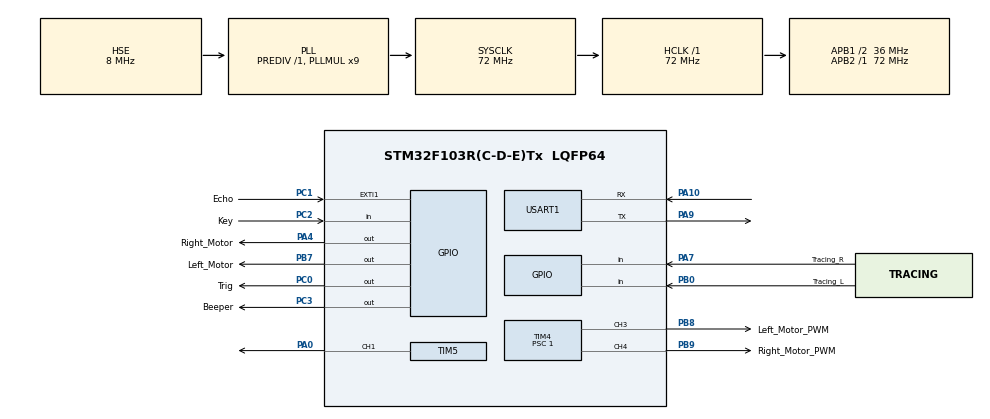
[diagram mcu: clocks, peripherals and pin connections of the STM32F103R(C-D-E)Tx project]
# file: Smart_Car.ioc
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Mcu.Family=STM32F1
Mcu.Name=STM32F103R(C-D-E)Tx
Mcu.Package=LQFP64
NVIC.EXTI1_IRQn=true\:2\:2\:true\:false\:true\:true\:true
NVIC.PriorityGroup=NVIC_PRIORITYGROUP_2
NVIC.USART1_IRQn=true\:3\:3\:true\:false\:true\:true\:true
PA0-WKUP.Signal=S_TIM5_CH1
PA10.Mode=Asynchronous
PA10.Signal=USART1_RX
PA13.Mode=Serial_Wire
PA13.Signal=SYS_JTMS-SWDIO
PA14.Mode=Serial_Wire
PA14.Signal=SYS_JTCK-SWCLK
PA4.GPIO_Label=Right_Motor
PA4.Signal=GPIO_Output
PA7.GPIO_Label=Tracing_R
PA7.GPIO_PuPd=GPIO_PULLUP
PA7.Signal=GPIO_Input
PA9.Mode=Asynchronous
PA9.Signal=USART1_TX
PB0.GPIO_Label=Tracing_L
PB0.GPIO_PuPd=GPIO_PULLUP
PB0.Signal=GPIO_Input
PB7.GPIO_Label=Left_Motor
PB7.Signal=GPIO_Output
PB8.GPIO_Label=Left_Motor_PWM
PB8.Signal=S_TIM4_CH3
PB9.GPIO_Label=Right_Motor_PWM
PB9.Signal=S_TIM4_CH4
PC0.GPIO_Label=Trig
PC0.Signal=GPIO_Output
PC1.GPIO_Label=Echo
PC1.GPIO_ModeDefaultEXTI=GPIO_MODE_IT_RISING
PC1.GPIO_PuPd=GPIO_PULLDOWN
PC1.Signal=GPXTI1
PC2.GPIO_Label=Key
PC2.GPIO_PuPd=GPIO_PULLUP
PC2.Signal=GPIO_Input
PC3.GPIO_Label=Beeper
PC3.Signal=GPIO_Output
PD0-OSC_IN.Mode=HSE-External-Oscillator
PD0-OSC_IN.Signal=RCC_OSC_IN
PD1-OSC_OUT.Mode=HSE-External-Oscillator
PD1-OSC_OUT.Signal=RCC_OSC_OUT
ProjectManager.HeapSize=0x200
ProjectManager.StackSize=0x400
ProjectManager.TargetToolchain=MDK-ARM V5.27
RCC.AHBFreq_Value=72000000
RCC.APB1CLKDivider=RCC_HCLK_DIV2
RCC.APB1Freq_Value=36000000
RCC.APB1TimFreq_Value=72000000
RCC.APB2Freq_Value=72000000
RCC.APB2TimFreq_Value=72000000
RCC.HCLKFreq_Value=72000000
RCC.PLLMUL=RCC_PLL_MUL9
RCC.PLLSourceVirtual=RCC_PLLSOURCE_HSE
RCC.SYSCLKFreq_VALUE=72000000
RCC.SYSCLKSource=RCC_SYSCLKSOURCE_PLLCLK
RCC.USBFreq_Value=72000000
SH.S_TIM4_CH3.0=TIM4_CH3,PWM Generation3 CH3
SH.S_TIM4_CH4.0=TIM4_CH4,PWM Generation4 CH4
SH.S_TIM5_CH1.0=TIM5_CH1,PWM Generation1 CH1
TIM2.Period=65535
TIM2.Prescaler=71
TIM4.AutoReloadPreload=TIM_AUTORELOAD_PRELOAD_ENABLE
TIM4.Channel-PWM\ Generation3\ CH3=TIM_CHANNEL_3
TIM4.Channel-PWM\ Generation4\ CH4=TIM_CHANNEL_4
TIM4.OCMode_PWM-PWM\ Generation3\ CH3=TIM_OCMODE_PWM2
TIM4.OCMode_PWM-PWM\ Generation4\ CH4=TIM_OCMODE_PWM2
TIM4.Period=3599
TIM4.Prescaler=1
TIM5.AutoReloadPreload=TIM_AUTORELOAD_PRELOAD_ENABLE
TIM5.Channel-PWM\ Generation1\ CH1=TIM_CHANNEL_1
TIM5.ClockDivision=TIM_CLOCKDIVISION_DIV1
TIM5.Period=3999
TIM5.Prescaler=359
USART1.VirtualMode=VM_ASYNC
VP_TIM2_VS_ClockSourceINT.Mode=Internal
board=custom

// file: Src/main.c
/* USER CODE BEGIN Header */
/**
  ******************************************************************************
  * @file           : main.c
  * @brief          : Main program body
  ******************************************************************************
  * @attention
  *
  * <h2><center>&copy; Copyright (c) 2023 STMicroelectronics.
  * All rights reserved.</center></h2>
  *
  * This software component is licensed by ST under BSD 3-Clause license,
  * the "License"; You may not use this file except in compliance with the
  * License. You may obtain a copy of the License at:
  *                        opensource.org/licenses/BSD-3-Clause
  *
  ******************************************************************************
  */
/* USER CODE END Header */

#include "main.h"
#include "tim.h"
#include "usart.h"
#include "gpio.h"

/* USER CODE BEGIN Includes */
#include "motor.h"
#include "key.h"
#include "beeper.h"
#include "IR_Tracing.h"
#include "servo.h"
#include "UltrasonicWave.h"
#include "stdio.h"
/* USER CODE END Includes */

/* USER CODE BEGIN PV */
extern float UltrasonicWave_Distance;
/* USER CODE END PV */

void SystemClock_Config(void);

int main(void)
{

  /* MCU Configuration--------------------------------------------------------*/

  /* Reset of all peripherals, Initializes the Flash interface and the Systick. */
  HAL_Init();

  /* Configure the system clock */
  SystemClock_Config();

  /* Initialize all configured peripherals */
  MX_GPIO_Init();
  MX_TIM4_Init();
  MX_TIM2_Init();
  MX_TIM5_Init();
  MX_USART1_UART_Init();
  /* USER CODE BEGIN 2 */
	HAL_TIM_PWM_Start(&htim4,TIM_CHANNEL_3);
	HAL_TIM_PWM_Start(&htim4,TIM_CHANNEL_4);
	HAL_TIM_PWM_Start(&htim5,TIM_CHANNEL_1);
  /* USER CODE END 2 */

  /* Infinite loop */
  /* USER CODE BEGIN WHILE */
	brake(50);
	keyscan();
	printf("hello/n");
  while (1)
  {
		SetJointAngle(90);
		UltrasonicWave_StartMeasure();
    /* USER CODE END WHILE */

    /* USER CODE BEGIN 3 */

		TracingRun(100);

  /* USER CODE END 3 */
	}
}
void SystemClock_Config(void)
{
  RCC_OscInitTypeDef RCC_OscInitStruct = {0};
  RCC_ClkInitTypeDef RCC_ClkInitStruct = {0};

  /** Initializes the CPU, AHB and APB busses clocks
  */
  RCC_OscInitStruct.OscillatorType = RCC_OSCILLATORTYPE_HSE;
  RCC_OscInitStruct.HSEState = RCC_HSE_ON;
  RCC_OscInitStruct.HSEPredivValue = RCC_HSE_PREDIV_DIV1;
  RCC_OscInitStruct.HSIState = RCC_HSI_ON;
  RCC_OscInitStruct.PLL.PLLState = RCC_PLL_ON;
  RCC_OscInitStruct.PLL.PLLSource = RCC_PLLSOURCE_HSE;
  RCC_OscInitStruct.PLL.PLLMUL = RCC_PLL_MUL9;
  if (HAL_RCC_OscConfig(&RCC_OscInitStruct) != HAL_OK)
  {
    Error_Handler();
  }
  /** Initializes the CPU, AHB and APB busses clocks
  */
  RCC_ClkInitStruct.ClockType = RCC_CLOCKTYPE_HCLK|RCC_CLOCKTYPE_SYSCLK
                              |RCC_CLOCKTYPE_PCLK1|RCC_CLOCKTYPE_PCLK2;
  RCC_ClkInitStruct.SYSCLKSource = RCC_SYSCLKSOURCE_PLLCLK;
  RCC_ClkInitStruct.AHBCLKDivider = RCC_SYSCLK_DIV1;
  RCC_ClkInitStruct.APB1CLKDivider = RCC_HCLK_DIV2;
  RCC_ClkInitStruct.APB2CLKDivider = RCC_HCLK_DIV1;

  if (HAL_RCC_ClockConfig(&RCC_ClkInitStruct, FLASH_LATENCY_2) != HAL_OK)
  {
    Error_Handler();
  }
}

void Error_Handler(void)
{
  /* USER CODE BEGIN Error_Handler_Debug */
  /* User can add his own implementation to report the HAL error return state */
	while(1)
	{
		BEEPER_SET;
		brake(500);
		BEEPER_RESET;
		brake(500);
	}

  /* USER CODE END Error_Handler_Debug */
}

/************************ (C) COPYRIGHT STMicroelectronics *****END OF FILE****/
